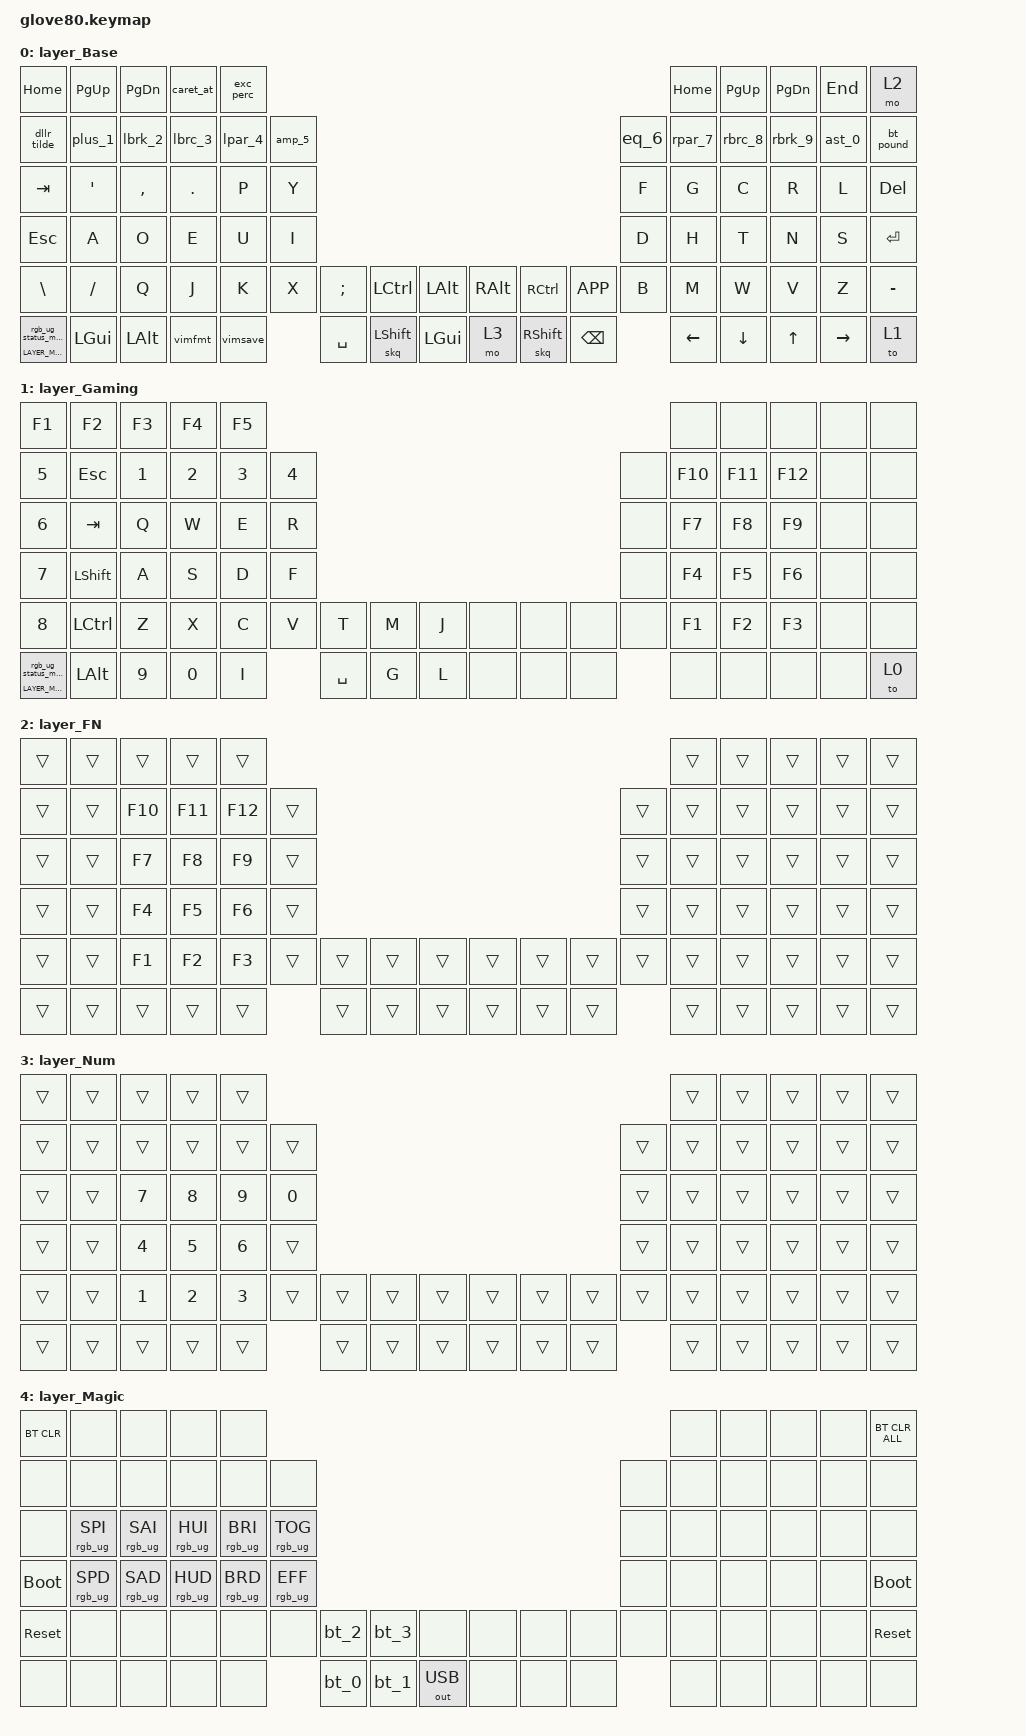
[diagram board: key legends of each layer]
/*
 * Copyright (c) 2020 The ZMK Contributors
 * Copyright (c) 2023 Innaworks Development Limited, trading as MoErgo
 *
 * SPDX-License-Identifier: MIT
 */
/* THIS FILE WAS GENERATED BY GLOVE80 LAYOUT EDITOR
 *
 * This file was generated automatically. You may or may not want to
 * edit it directly.
 */
/* Include all behavior includes needed */

#include <behaviors.dtsi>
#include <dt-bindings/zmk/bt.h>
#include <dt-bindings/zmk/keys.h>
#include <dt-bindings/zmk/outputs.h>
#include <dt-bindings/zmk/rgb.h>

/* Automatically generated layer name #define */

#define LAYER_Base 0
#define LAYER_Gaming 1
#define LAYER_FN 2
#define LAYER_Num 3
#define LAYER_Magic 4

/* To deal with the situation where there is no Lower layer, to keep &lower happy */

#ifndef LAYER_Lower

#define LAYER_Lower 0

#

endif {
    /* Custom Device-tree */
    /* Glove80 system behavior & macros */

    /

    behaviors {
        // For the "layer" key, it'd nice to be able to use it as either a shift or a toggle.
        // Configure it as a tap dance, so the first tap (or hold) is a &mo and the second tap is a &to

        lower: lower {
            compatible = "zmk,behavior-tap-dance";
            label = "LAYER_TAP_DANCE";
            #binding-cells = <0>;
            tapping-term-ms = <200>;
            bindings = <&mo LAYER_Lower>, <&to LAYER_Lower>;
        };
    };
};

/ {
    macros {
        rgb_ug_status_macro: rgb_ug_status_macro {
            label = "RGB_UG_STATUS";
            compatible = "zmk,behavior-macro";
            #binding-cells = <0>;
            bindings = <&rgb_ug RGB_STATUS>;
        };
    };
};

/ {
    #ifdef BT_DISC_CMD

    behaviors {
        bt_0: bt_0 {
            compatible = "zmk,behavior-tap-dance";
            label = "BT_0";
            #binding-cells = <0>;
            tapping-term-ms = <200>;
            bindings = <&bt_select_0>, <&bt BT_DISC 0>;
        };

        bt_1: bt_1 {
            compatible = "zmk,behavior-tap-dance";
            label = "BT_1";
            #binding-cells = <0>;
            tapping-term-ms = <200>;
            bindings = <&bt_select_1>, <&bt BT_DISC 1>;
        };

        bt_2: bt_2 {
            compatible = "zmk,behavior-tap-dance";
            label = "BT_2";
            #binding-cells = <0>;
            tapping-term-ms = <200>;
            bindings = <&bt_select_2>, <&bt BT_DISC 2>;
        };

        bt_3: bt_3 {
            compatible = "zmk,behavior-tap-dance";
            label = "BT_3";
            #binding-cells = <0>;
            tapping-term-ms = <200>;
            bindings = <&bt_select_3>, <&bt BT_DISC 3>;
        };
    };

    macros {
        bt_select_0: bt_select_0 {
            label = "BT_SELECT_0";
            compatible = "zmk,behavior-macro";
            #binding-cells = <0>;
            bindings = <&out OUT_BLE &bt BT_SEL 0>;
        };

        bt_select_1: bt_select_1 {
            label = "BT_SELECT_1";
            compatible = "zmk,behavior-macro";
            #binding-cells = <0>;
            bindings = <&out OUT_BLE &bt BT_SEL 1>;
        };

        bt_select_2: bt_select_2 {
            label = "BT_SELECT_2";
            compatible = "zmk,behavior-macro";
            #binding-cells = <0>;
            bindings = <&out OUT_BLE &bt BT_SEL 2>;
        };

        bt_select_3: bt_select_3 {
            label = "BT_SELECT_3";
            compatible = "zmk,behavior-macro";
            #binding-cells = <0>;
            bindings = <&out OUT_BLE &bt BT_SEL 3>;
        };
    };

    #else

    macros {
    };

    #endif
};

/ {
    behaviors {
        magic: magic {
            compatible = "zmk,behavior-hold-tap";
            label = "MAGIC_HOLD_TAP";
            #binding-cells = <2>;
            flavor = "tap-preferred";
            tapping-term-ms = <200>;
            bindings = <&mo>, <&rgb_ug_status_macro>;
        };
    };
};

/* #define for key positions */

#define POS_LH_T1 52
#define POS_LH_T2 53
#define POS_LH_T3 54
#define POS_LH_T4 69
#define POS_LH_T5 70
#define POS_LH_T6 71
#define POS_LH_C1R2 15
#define POS_LH_C1R3 27
#define POS_LH_C1R4 39
#define POS_LH_C1R5 51
#define POS_LH_C2R1 4
#define POS_LH_C2R2 14
#define POS_LH_C2R3 26
#define POS_LH_C2R4 38
#define POS_LH_C2R5 50
#define POS_LH_C2R6 68
#define POS_LH_C3R1 3
#define POS_LH_C3R2 13
#define POS_LH_C3R3 25
#define POS_LH_C3R4 37
#define POS_LH_C3R5 49
#define POS_LH_C3R6 67
#define POS_LH_C4R1 2
#define POS_LH_C4R2 12
#define POS_LH_C4R3 24
#define POS_LH_C4R4 36
#define POS_LH_C4R5 48
#define POS_LH_C4R6 66
#define POS_LH_C5R1 1
#define POS_LH_C5R2 11
#define POS_LH_C5R3 23
#define POS_LH_C5R4 35
#define POS_LH_C5R5 47
#define POS_LH_C5R6 65
#define POS_LH_C6R1 0
#define POS_LH_C6R2 10
#define POS_LH_C6R3 22
#define POS_LH_C6R4 34
#define POS_LH_C6R5 46
#define POS_LH_C6R6 64
#define POS_RH_T1 57
#define POS_RH_T2 56
#define POS_RH_T3 55
#define POS_RH_T4 74
#define POS_RH_T5 73
#define POS_RH_T6 72
#define POS_RH_C1R2 16
#define POS_RH_C1R3 28
#define POS_RH_C1R4 40
#define POS_RH_C1R5 58
#define POS_RH_C2R1 5
#define POS_RH_C2R2 17
#define POS_RH_C2R3 29
#define POS_RH_C2R4 41
#define POS_RH_C2R5 59
#define POS_RH_C2R6 75
#define POS_RH_C3R1 6
#define POS_RH_C3R2 18
#define POS_RH_C3R3 30
#define POS_RH_C3R4 42
#define POS_RH_C3R5 60
#define POS_RH_C3R6 76
#define POS_RH_C4R1 7
#define POS_RH_C4R2 19
#define POS_RH_C4R3 31
#define POS_RH_C4R4 43
#define POS_RH_C4R5 61
#define POS_RH_C4R6 77
#define POS_RH_C5R1 8
#define POS_RH_C5R2 20
#define POS_RH_C5R3 32
#define POS_RH_C5R4 44
#define POS_RH_C5R5 62
#define POS_RH_C5R6 78
#define POS_RH_C6R1 9
#define POS_RH_C6R2 21
#define POS_RH_C6R3 33
#define POS_RH_C6R4 45
#define POS_RH_C6R5 63
#define POS_RH_C6R6 79

/* Custom Defined Behaviors */

/ {
    behaviors {
        skq: sticky_key_quick_release {
            compatible = "zmk,behavior-sticky-key";
            #binding-cells = <1>;
            bindings = <&kp>;
            release-after-ms = <100>;
            quick-release;
            ignore-modifiers;
        };

        plus_1: plus_1 {
            compatible = "zmk,behavior-mod-morph";
            label = "PLUS_1";
            bindings = <&kp PLUS>, <&kp NUMBER_1>;

            #binding-cells = <0>;
            mods = <(MOD_LSFT|MOD_RSFT)>;
            keep-mods = <(MOD_LCTL|MOD_LALT|MOD_LGUI|MOD_RCTL|MOD_RALT|MOD_RGUI)>;
        };

        lbrk_2: lbrk_2 {
            compatible = "zmk,behavior-mod-morph";
            label = "LBRK_2";
            bindings = <&kp LEFT_BRACKET>, <&kp NUMBER_2>;

            #binding-cells = <0>;
            mods = <(MOD_LSFT|MOD_RSFT)>;
            keep-mods = <(MOD_LCTL|MOD_LALT|MOD_LGUI|MOD_RCTL|MOD_RALT|MOD_RGUI)>;
        };

        lbrc_3: lbrc_3 {
            compatible = "zmk,behavior-mod-morph";
            label = "LBRC_3";
            bindings = <&kp LBRC>, <&kp NUMBER_3>;

            #binding-cells = <0>;
            mods = <(MOD_LSFT|MOD_RSFT)>;
            keep-mods = <(MOD_LCTL|MOD_LALT|MOD_LGUI|MOD_RCTL|MOD_RALT|MOD_RGUI)>;
        };

        lpar_4: lpar_4 {
            compatible = "zmk,behavior-mod-morph";
            label = "LPAR_4";
            bindings = <&kp LPAR>, <&kp NUMBER_4>;

            #binding-cells = <0>;
            mods = <(MOD_LSFT|MOD_RSFT)>;
            keep-mods = <(MOD_LCTL|MOD_LALT|MOD_LGUI|MOD_RCTL|MOD_RALT|MOD_RGUI)>;
        };

        amp_5: amp_5 {
            compatible = "zmk,behavior-mod-morph";
            label = "AMP_5";
            bindings = <&kp AMPS>, <&kp NUMBER_5>;

            #binding-cells = <0>;
            mods = <(MOD_LSFT|MOD_RSFT)>;
            keep-mods = <(MOD_LCTL|MOD_LALT|MOD_LGUI|MOD_RCTL|MOD_RALT|MOD_RGUI)>;
        };

        eq_6: eq_6 {
            compatible = "zmk,behavior-mod-morph";
            label = "EQ_6";
            bindings = <&kp EQUAL>, <&kp NUMBER_6>;

            #binding-cells = <0>;
            mods = <(MOD_LSFT|MOD_RSFT)>;
            keep-mods = <(MOD_LCTL|MOD_LALT|MOD_LGUI|MOD_RCTL|MOD_RALT|MOD_RGUI)>;
        };

        rpar_7: rpar_7 {
            compatible = "zmk,behavior-mod-morph";
            label = "RPAR_7";
            bindings = <&kp RPAR>, <&kp NUMBER_7>;

            #binding-cells = <0>;
            mods = <(MOD_LSFT|MOD_RSFT)>;
            keep-mods = <(MOD_LCTL|MOD_LALT|MOD_LGUI|MOD_RCTL|MOD_RALT|MOD_RGUI)>;
        };

        rbrc_8: rbrc_8 {
            compatible = "zmk,behavior-mod-morph";
            label = "RBRC_8";
            bindings = <&kp RBRC>, <&kp NUMBER_8>;

            #binding-cells = <0>;
            mods = <(MOD_LSFT|MOD_RSFT)>;
            keep-mods = <(MOD_LCTL|MOD_LALT|MOD_LGUI|MOD_RCTL|MOD_RALT|MOD_RGUI)>;
        };

        rbrk_9: rbrk_9 {
            compatible = "zmk,behavior-mod-morph";
            label = "RBRK_9";
            bindings = <&kp RIGHT_BRACKET>, <&kp N9>;

            #binding-cells = <0>;
            mods = <(MOD_LSFT|MOD_RSFT)>;
            keep-mods = <(MOD_LCTL|MOD_LALT|MOD_LGUI|MOD_RCTL|MOD_RALT|MOD_RGUI)>;
        };

        ast_0: ast_0 {
            compatible = "zmk,behavior-mod-morph";
            label = "AST_0";
            bindings = <&kp ASTRK>, <&kp NUMBER_0>;

            #binding-cells = <0>;
            mods = <(MOD_LSFT|MOD_RSFT)>;
            keep-mods = <(MOD_LCTL|MOD_LALT|MOD_LGUI|MOD_RCTL|MOD_RALT|MOD_RGUI)>;
        };

        exc_perc: exc_perc {
            compatible = "zmk,behavior-mod-morph";
            label = "EXC_PERC";
            bindings = <&kp EXCL>, <&kp PERCENT>;

            #binding-cells = <0>;
            mods = <(MOD_LSFT|MOD_RSFT)>;
            keep-mods = <(MOD_LCTL|MOD_LALT|MOD_LGUI|MOD_RCTL|MOD_RALT|MOD_RGUI)>;
        };

        pipe_bslsh: pipe_bslsh {
            compatible = "zmk,behavior-mod-morph";
            label = "PIPE_BSLSH";
            bindings = <&kp PIPE>, <&kp BSLH>;

            #binding-cells = <0>;
            mods = <(MOD_LSFT|MOD_RSFT)>;
            keep-mods = <(MOD_LCTL|MOD_LALT|MOD_LGUI|MOD_RCTL|MOD_RALT|MOD_RGUI)>;
        };

        dllr_tilde: dllr_tilde {
            compatible = "zmk,behavior-mod-morph";
            label = "DLLR_TILDE";
            bindings = <&kp DOLLAR>, <&kp TILDE>;

            #binding-cells = <0>;
            mods = <(MOD_LSFT|MOD_RSFT)>;
            keep-mods = <(MOD_LCTL|MOD_LALT|MOD_LGUI|MOD_RCTL|MOD_RALT|MOD_RGUI)>;
        };

        caret_at: caret_at {
            compatible = "zmk,behavior-mod-morph";
            label = "CARET_AT";
            bindings = <&kp CARET>, <&kp AT>;

            #binding-cells = <0>;
            mods = <(MOD_LSFT|MOD_RSFT)>;
            keep-mods = <(MOD_LCTL|MOD_LALT|MOD_LGUI|MOD_RCTL|MOD_RALT|MOD_RGUI)>;
        };

        bt_pound: bt_pound {
            compatible = "zmk,behavior-mod-morph";
            label = "BT_POUND";
            bindings = <&kp GRAVE>, <&kp POUND>;

            #binding-cells = <0>;
            mods = <(MOD_LSFT|MOD_RSFT)>;
            keep-mods = <(MOD_LCTL|MOD_LALT|MOD_LGUI|MOD_RCTL|MOD_RALT|MOD_RGUI)>;
        };
    };
};

/* Automatically generated macro definitions */

/ {
    macros {
        // Command for vim saving

        vimsave: vimsave {
            label = "&VIMSAVE";
            compatible = "zmk,behavior-macro";
            #binding-cells = <0>;
            bindings = <&kp COLON &kp W &kp RET>;
        };

        // format vim

        vimfmt: vimfmt {
            label = "&VIMFMT";
            compatible = "zmk,behavior-macro";
            #binding-cells = <0>;
            bindings = <&kp SPACE &kp F &kp F>;
        };
    };
};

/* Automatically generated behavior definitions */

/ {
    behaviors {
    };
};

/* Automatically generated combos definitions */

/ {
    combos {
        compatible = "zmk,combos";

        // Toggles caps lock when both shift keys are pressed

        combo_toggle_caps {
            timeout-ms = <30>;
            key-positions = <70 73>;
            bindings = <&kp CAPS>;
            layers = <0>;
        };
    };
};

/* Automatically generated keymap */

/ {
    keymap {
        compatible = "zmk,keymap";

        layer_Base {
            bindings = <
&kp HOME              &kp PG_UP  &kp PG_DN  &caret_at  &exc_perc                                                                                    &kp HOME  &kp PG_UP  &kp PG_DN  &kp END    &mo 2
&dllr_tilde           &plus_1    &lbrk_2    &lbrc_3    &lpar_4    &amp_5                                                                     &eq_6  &rpar_7   &rbrc_8    &rbrk_9    &ast_0     &bt_pound
&kp TAB               &kp SQT    &kp COMMA  &kp DOT    &kp P      &kp Y                                                                      &kp F  &kp G     &kp C      &kp R      &kp L      &kp DEL
&kp ESC               &kp A      &kp O      &kp E      &kp U      &kp I                                                                      &kp D  &kp H     &kp T      &kp N      &kp S      &kp RET
&kp BSLH              &kp FSLH   &kp Q      &kp J      &kp K      &kp X   &kp SEMI   &kp LCTRL    &kp LALT  &kp RALT  &kp RCTRL   &kp K_APP  &kp B  &kp M     &kp W      &kp V      &kp Z      &kp MINUS
&magic LAYER_Magic 0  &kp LGUI   &kp LALT   &vimfmt    &vimsave           &kp SPACE  &skq LSHIFT  &kp LGUI  &mo 3     &skq RSHFT  &kp BSPC          &kp LEFT  &kp DOWN   &kp UP     &kp RIGHT  &to 1
            >;
        };

        layer_Gaming {
            bindings = <
&kp F1                &kp F2     &kp F3  &kp F4  &kp F5                                                               &none    &none    &none    &none  &none
&kp N5                &kp ESC    &kp N1  &kp N2  &kp N3  &kp N4                                                &none  &kp F10  &kp F11  &kp F12  &none  &none
&kp N6                &kp TAB    &kp Q   &kp W   &kp E   &kp R                                                 &none  &kp F7   &kp F8   &kp F9   &none  &none
&kp N7                &kp LSHFT  &kp A   &kp S   &kp D   &kp F                                                 &none  &kp F4   &kp F5   &kp F6   &none  &none
&kp N8                &kp LCTRL  &kp Z   &kp X   &kp C   &kp V   &kp T      &kp M  &kp J  &none  &none  &none  &none  &kp F1   &kp F2   &kp F3   &none  &none
&magic LAYER_Magic 0  &kp LALT   &kp N9  &kp N0  &kp I           &kp SPACE  &kp G  &kp L  &none  &none  &none         &none    &none    &none    &none  &to 0
            >;
        };

        layer_FN {
            bindings = <
&trans  &trans  &trans   &trans   &trans                                                                   &trans  &trans  &trans  &trans  &trans
&trans  &trans  &kp F10  &kp F11  &kp F12  &trans                                                  &trans  &trans  &trans  &trans  &trans  &trans
&trans  &trans  &kp F7   &kp F8   &kp F9   &trans                                                  &trans  &trans  &trans  &trans  &trans  &trans
&trans  &trans  &kp F4   &kp F5   &kp F6   &trans                                                  &trans  &trans  &trans  &trans  &trans  &trans
&trans  &trans  &kp F1   &kp F2   &kp F3   &trans  &trans  &trans  &trans  &trans  &trans  &trans  &trans  &trans  &trans  &trans  &trans  &trans
&trans  &trans  &trans   &trans   &trans           &trans  &trans  &trans  &trans  &trans  &trans          &trans  &trans  &trans  &trans  &trans
            >;
        };

        layer_Num {
            bindings = <
&trans  &trans  &trans  &trans  &trans                                                                  &trans  &trans  &trans  &trans  &trans
&trans  &trans  &trans  &trans  &trans  &trans                                                  &trans  &trans  &trans  &trans  &trans  &trans
&trans  &trans  &kp N7  &kp N8  &kp N9  &kp N0                                                  &trans  &trans  &trans  &trans  &trans  &trans
&trans  &trans  &kp N4  &kp N5  &kp N6  &trans                                                  &trans  &trans  &trans  &trans  &trans  &trans
&trans  &trans  &kp N1  &kp N2  &kp N3  &trans  &trans  &trans  &trans  &trans  &trans  &trans  &trans  &trans  &trans  &trans  &trans  &trans
&trans  &trans  &trans  &trans  &trans          &trans  &trans  &trans  &trans  &trans  &trans          &trans  &trans  &trans  &trans  &trans
            >;
        };

        layer_Magic {
            bindings = <
&bt BT_CLR   &none            &none            &none            &none                                                                                     &none  &none  &none  &none  &bt BT_CLR_ALL
&none        &none            &none            &none            &none            &none                                                             &none  &none  &none  &none  &none  &none
&none        &rgb_ug RGB_SPI  &rgb_ug RGB_SAI  &rgb_ug RGB_HUI  &rgb_ug RGB_BRI  &rgb_ug RGB_TOG                                                   &none  &none  &none  &none  &none  &none
&bootloader  &rgb_ug RGB_SPD  &rgb_ug RGB_SAD  &rgb_ug RGB_HUD  &rgb_ug RGB_BRD  &rgb_ug RGB_EFF                                                   &none  &none  &none  &none  &none  &bootloader
&sys_reset   &none            &none            &none            &none            &none            &bt_2  &bt_3  &none         &none  &none  &none  &none  &none  &none  &none  &none  &sys_reset
&none        &none            &none            &none            &none                             &bt_0  &bt_1  &out OUT_USB  &none  &none  &none         &none  &none  &none  &none  &none
            >;
        };
    };
};
